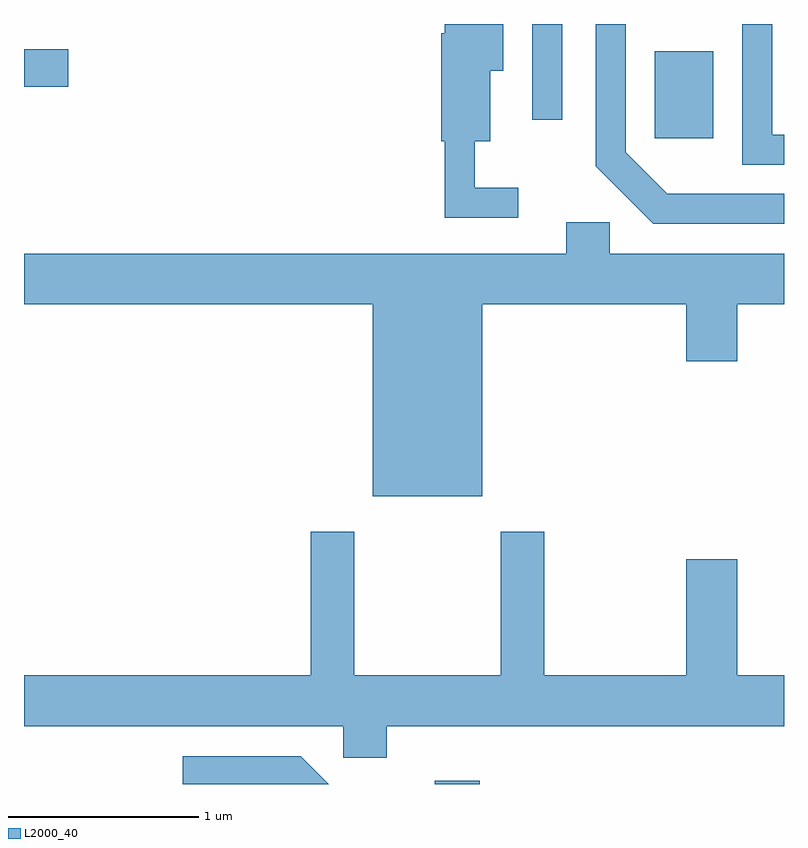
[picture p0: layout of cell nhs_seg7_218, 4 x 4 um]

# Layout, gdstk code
import gdstk
lib = gdstk.Library(unit=1e-6, precision=1e-09)
def R(c, l, rs):  # rectangles x0, y0, x1, y1
    for r in rs: c.add(gdstk.rectangle(r[:2], r[2:], *l))
def P(c, l, *ps):  # polygons
    for p in ps: c.add(gdstk.Polygon(p, *l))
L2000_40 = (2000, 40)

nhs_seg7_218 = lib.new_cell('nhs_seg7_218')
R(nhs_seg7_218, L2000_40, [(193.773,1696.252,194.009,1696.269), (194.931,1699.651,195.239,1700.109), (194.286,1699.748,194.444,1700.252), (191.611,1699.921,191.844,1700.119)])
P(nhs_seg7_218, L2000_40, [(195.611,1699.669),(195.549,1699.669),(195.549,1700.252),(195.391,1700.252),(195.391,1699.511),(195.611,1699.511)],
  [(194.213,1699.389),(193.984,1699.389),(193.984,1699.636),(194.064,1699.636),(194.064,1700.006),(194.134,1700.006),(194.134,1700.252),(193.826,1700.252),(193.826,1700.204),(193.806,1700.204),(193.806,1699.636),(193.826,1699.636),(193.826,1699.231),(194.213,1699.231)],
  [(195.611,1699.359),(194.997,1699.359),(194.779,1699.577),(194.779,1700.252),(194.621,1700.252),(194.621,1699.504),(194.924,1699.201),(195.611,1699.201)],
  [(194.024,1698.776),(195.096,1698.776),(195.096,1698.476),(195.364,1698.476),(195.364,1698.776),(195.611,1698.776),(195.611,1699.044),(194.694,1699.044),(194.694,1699.209),(194.466,1699.209),(194.466,1699.044),(191.611,1699.044),(191.611,1698.776),(193.446,1698.776),(193.446,1697.766),(194.024,1697.766)],
  [(193.519,1696.556),(195.611,1696.556),(195.611,1696.824),(195.364,1696.824),(195.364,1697.434),(195.096,1697.434),(195.096,1696.824),(194.349,1696.824),(194.349,1697.579),(194.121,1697.579),(194.121,1696.824),(193.349,1696.824),(193.349,1697.579),(193.121,1697.579),(193.121,1696.824),(191.611,1696.824),(191.611,1696.556),(193.291,1696.556),(193.291,1696.391),(193.519,1696.391)],
  [(193.067,1696.399),(192.446,1696.399),(192.446,1696.252),(193.214,1696.252)])

lib.write_gds('nhs_seg7_218.gds')
